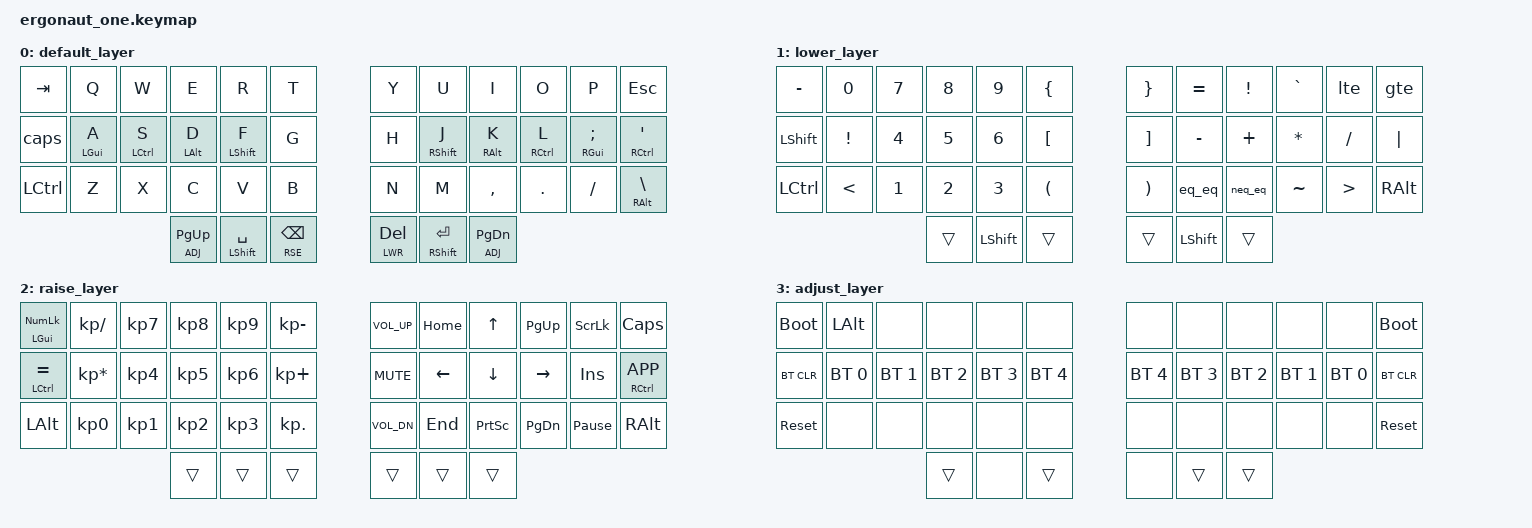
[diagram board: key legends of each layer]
#include <behaviors.dtsi>
#include <dt-bindings/zmk/bt.h>
#include <dt-bindings/zmk/keys.h>

#define DEF 0
#define LWR 1
#define RSE 2
#define ADJ 3

&lt { quick-tap-ms = <170>; };

&mt { quick-tap-ms = <170>; };

&caps_word { continue-list = <BACKSPACE DELETE>; };

/ {
    conditional_layers {
        compatible = "zmk,conditional-layers";

        tri-layer {
            if-layers = <1 2>;
            then-layer = <3>;
        };
    };

    behaviors {
        caps: caps {
            compatible = "zmk,behavior-tap-dance";
            label = "CAPS";
            #binding-cells = <0>;
            bindings = <&kp LEFT_SHIFT>, <&caps_word>;

            tapping-term-ms = <200>;
        };

        phtr: positional_hold_tap_right {
            compatible = "zmk,behavior-hold-tap";
            #binding-cells = <2>;
            flavor = "tap-preferred";
            tapping-term-ms = <170>;
            quick-tap-ms = <170>;
            bindings = <&kp>, <&kp>;

            hold-trigger-key-positions = <0 1 2 3 4 5 12 13 14 15 16 17 24 25 26 27 28 29 36 37 38 39 40 41>;    // <---[[the W key]]
        };

        phll: positional_hold_tap_left {
            compatible = "zmk,behavior-hold-tap";
            #binding-cells = <2>;
            flavor = "tap-preferred";
            tapping-term-ms = <250>;
            quick-tap-ms = <170>;
            bindings = <&kp>, <&kp>;

            hold-trigger-key-positions = <6 7 8 9 10 11 18 19 20 21 22 23 30 31 32 33 34 35 36 37 38 39 40 41>;    // <---[[the W key]]
        };
    };

    macros {
        eq_eq: eq_eq {
            compatible = "zmk,behavior-macro";
            #binding-cells = <0>;
            bindings = <&kp EQUAL &kp EQUAL>;
            label = "EQ_EQ";
        };

        neq_eq: neq_eq {
            compatible = "zmk,behavior-macro";
            #binding-cells = <0>;
            bindings = <&kp EXCLAMATION &kp EQUAL>;
            label = "NEQ_EQ";
        };

        plus_eq: plus_eq {
            compatible = "zmk,behavior-macro";
            #binding-cells = <0>;
            bindings = <&kp PLUS &kp EQUAL>;
            label = "PLUS_EQ";
        };

        minus_eq: minus_eq {
            compatible = "zmk,behavior-macro";
            #binding-cells = <0>;
            bindings = <&kp MINUS &kp EQUAL>;
            label = "MINUS_EQ";
        };

        gte: gte {
            compatible = "zmk,behavior-macro";
            #binding-cells = <0>;
            bindings = <&kp GREATER_THAN &kp EQUAL>;
            label = "GTE";
        };

        lte: lte {
            compatible = "zmk,behavior-macro";
            #binding-cells = <0>;
            bindings = <&kp LESS_THAN &kp EQUAL>;
            label = "LTE";
        };
    };

    keymap {
        compatible = "zmk,keymap";

        default_layer {
            bindings = <
&kp TAB           &kp Q             &kp W                 &kp E             &kp R                 &kp T              &kp Y           &kp U                &kp I              &kp O                  &kp P                      &kp ESCAPE
&caps             &phll LEFT_GUI A  &phll LEFT_CONTROL S  &phll LEFT_ALT D  &phll LEFT_SHIFT F    &kp G              &kp H           &phtr RIGHT_SHIFT J  &phtr RIGHT_ALT K  &phtr RIGHT_CONTROL L  &phtr RIGHT_GUI SEMICOLON  &phtr RCTRL SQT
&kp LEFT_CONTROL  &kp Z             &kp X                 &kp C             &kp V                 &kp B              &kp N           &kp M                &kp COMMA          &kp DOT                &kp FSLH                   &mt RALT BSLH
                                                          &lt ADJ PAGE_UP   &mt LEFT_SHIFT SPACE  &lt RSE BACKSPACE  &lt LWR DELETE  &mt RSHFT ENTER      &lt ADJ PAGE_DOWN
            >;
        };

        lower_layer {
            bindings = <
&kp MINUS         &kp N0         &kp N7        &kp N8        &kp N9          &kp LEFT_BRACE        &kp RIGHT_BRACE        &kp EQUAL       &kp EXCLAMATION  &kp GRAVE     &lte              &gte
&kp LEFT_SHIFT    &kp EXCL       &kp NUMBER_4  &kp N5        &kp NUMBER_6    &kp LEFT_BRACKET      &kp RIGHT_BRACKET      &kp MINUS       &kp PLUS         &kp ASTERISK  &kp SLASH         &kp PIPE
&kp LEFT_CONTROL  &kp LESS_THAN  &kp NUMBER_1  &kp NUMBER_2  &kp NUMBER_3    &kp LEFT_PARENTHESIS  &kp RIGHT_PARENTHESIS  &eq_eq          &neq_eq          &kp TILDE     &kp GREATER_THAN  &kp RALT
                                               &trans        &kp LEFT_SHIFT  &trans                &trans                 &kp LEFT_SHIFT  &trans
            >;
        };

        raise_layer {
            bindings = <
&mt LGUI KP_NUM  &kp KP_SLASH     &kp KP_N7  &kp KP_N8  &kp KP_N9  &kp KP_MINUS  &kp C_VOL_UP  &kp HOME  &kp UP     &kp PG_UP  &kp SLCK         &kp CLCK
&mt LCTRL EQUAL  &kp KP_MULTIPLY  &kp KP_N4  &kp KP_N5  &kp KP_N6  &kp KP_PLUS   &kp C_MUTE    &kp LEFT  &kp DOWN   &kp RIGHT  &kp INS          &mt RCTRL K_APP
&kp LALT         &kp KP_N0        &kp KP_N1  &kp KP_N2  &kp KP_N3  &kp KP_DOT    &kp C_VOL_DN  &kp END   &kp PSCRN  &kp PG_DN  &kp PAUSE_BREAK  &kp RALT
                                             &trans     &trans     &trans        &trans        &trans    &trans
            >;
        };

        adjust_layer {
            bindings = <
&bootloader  &kp LEFT_ALT  &none         &none         &none         &none         &none         &none         &none         &none         &none         &bootloader
&bt BT_CLR   &bt BT_SEL 0  &bt BT_SEL 1  &bt BT_SEL 2  &bt BT_SEL 3  &bt BT_SEL 4  &bt BT_SEL 4  &bt BT_SEL 3  &bt BT_SEL 2  &bt BT_SEL 1  &bt BT_SEL 0  &bt BT_CLR
&sys_reset   &none         &none         &none         &none         &none         &none         &none         &none         &none         &none         &sys_reset
                                         &trans        &none         &trans        &none         &trans        &trans
            >;
        };
    };
};
